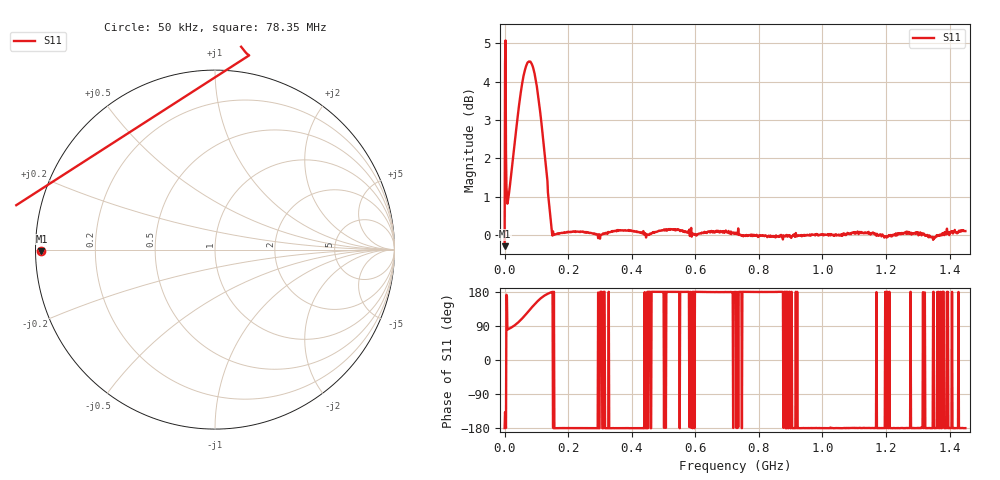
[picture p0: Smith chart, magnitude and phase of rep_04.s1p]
! Created with skrf 1.11.0 (http://scikit-rf.org).
# Hz S RI R 50.0
!freq ReS11 ImS11
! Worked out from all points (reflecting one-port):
!   1001 points, 50 kHz to 1.45 GHz, reference 50 ohm
!   lowest |S11| = -0.3 dB at 50 kHz (marker M1), VSWR 59.90, Z = 0.835 - j0.201 ohm
!   phase of S11 starts at -180 deg and turns -0 deg over the sweep
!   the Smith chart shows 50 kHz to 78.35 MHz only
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50000  -0.9671 -0.00776
8749700  0.1904 1.082
1.019965e7  0.1779 1.091
1.16496e7  0.1665 1.104
1.599945e7  0.1354 1.144
2.61491e7  0.0379 1.255
3.629875e7  -0.1074 1.366
4.64484e7  -0.3116 1.454
5.51481e7  -0.5247 1.485
6.529775e7  -0.7984 1.443
7.399745e7  -1.019 1.337
8.7047e7  -1.278 1.069
9.86466e7  -1.385 0.7768
1.073463e8  -1.39 0.5604
1.17496e8  -1.335 0.3509
1.276456e8  -1.244 0.1942
1.363453e8  -1.132 0.0994
1.43595e8  -1.061 0.0418
1.522948e8  -1.011 -0.0349
1.812938e8  -1.006 -0.00649
3.625375e8  -1.015 -0.00464
5.437812e8  -1.016 0.00298
7.25025e8  -1.007 0.0112
9.062688e8  -0.9983 -0.0053
1.087512e9  -1.003 -0.00968
1.268756e9  -1.01 -0.011
1.348504e9  -0.9857 0.00875
1.45e9  -1.012 -0.00402
